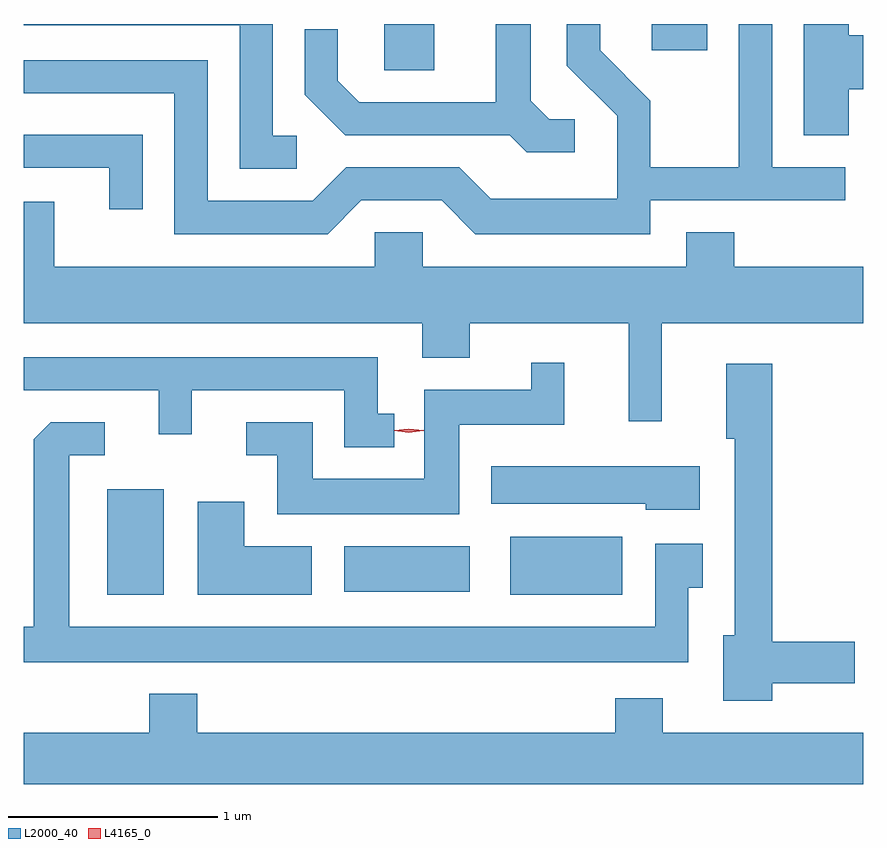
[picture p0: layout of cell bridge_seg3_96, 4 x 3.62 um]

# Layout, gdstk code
import gdstk
lib = gdstk.Library(unit=1e-6, precision=1e-09)
def R(c, l, rs):  # rectangles x0, y0, x1, y1
    for r in rs: c.add(gdstk.rectangle(r[:2], r[2:], *l))
def P(c, l, *ps):  # polygons
    for p in ps: c.add(gdstk.Polygon(p, *l))
L2000_40 = (2000, 40)
L4165_0 = (4165, 0)

bridge_seg3_96 = lib.new_cell('bridge_seg3_96')
R(bridge_seg3_96, L2000_40, [(1081.091,1251.261,1081.359,1251.764), (1083.011,1251.261,1083.544,1251.539), (1082.221,1251.276,1082.819,1251.494), (1082.411,1253.761,1082.649,1253.982), (1083.686,1253.856,1083.949,1253.982)])
P(bridge_seg3_96, L2000_40, [(1084.624,1253.671),(1084.693,1253.671),(1084.693,1253.929),(1084.624,1253.929),(1084.624,1253.982),(1084.411,1253.982),(1084.411,1253.451),(1084.624,1253.451)],
  [(1081.993,1253.449),(1081.879,1253.449),(1081.879,1253.982),(1080.693,1253.982),(1080.693,1253.976),(1081.721,1253.976),(1081.721,1253.291),(1081.993,1253.291)],
  [(1082.302,1253.141),(1082.684,1253.141),(1082.844,1252.981),(1083.679,1252.981),(1083.679,1253.141),(1084.608,1253.141),(1084.608,1253.299),(1084.259,1253.299),(1084.259,1253.982),(1084.101,1253.982),(1084.101,1253.299),(1083.679,1253.299),(1083.679,1253.617),(1083.439,1253.857),(1083.439,1253.982),(1083.281,1253.982),(1083.281,1253.784),(1083.521,1253.544),(1083.521,1253.149),(1082.917,1253.149),(1082.767,1253.299),(1082.229,1253.299),(1082.069,1253.139),(1081.569,1253.139),(1081.569,1253.809),(1080.693,1253.809),(1080.693,1253.651),(1081.411,1253.651),(1081.411,1252.981),(1082.142,1252.981)],
  [(1083.318,1253.529),(1083.197,1253.529),(1083.109,1253.617),(1083.109,1253.982),(1082.941,1253.982),(1082.941,1253.609),(1082.292,1253.609),(1082.189,1253.712),(1082.189,1253.958),(1082.031,1253.958),(1082.031,1253.644),(1082.224,1253.451),(1083.009,1253.451),(1083.089,1253.371),(1083.318,1253.371)],
  [(1081.259,1253.454),(1080.693,1253.454),(1080.693,1253.296),(1081.101,1253.296),(1081.101,1253.098),(1081.259,1253.098)],
  [(1083.734,1252.556),(1084.693,1252.556),(1084.693,1252.824),(1084.079,1252.824),(1084.079,1252.989),(1083.851,1252.989),(1083.851,1252.824),(1082.594,1252.824),(1082.594,1252.989),(1082.366,1252.989),(1082.366,1252.824),(1080.839,1252.824),(1080.839,1253.134),(1080.693,1253.134),(1080.693,1252.556),(1082.591,1252.556),(1082.591,1252.391),(1082.819,1252.391),(1082.819,1252.556),(1083.576,1252.556),(1083.576,1252.088),(1083.734,1252.088)],
  [(1082.458,1252.124),(1082.379,1252.124),(1082.379,1252.394),(1080.693,1252.394),(1080.693,1252.236),(1081.336,1252.236),(1081.336,1252.028),(1081.494,1252.028),(1081.494,1252.236),(1082.221,1252.236),(1082.221,1251.966),(1082.458,1251.966)],
  [(1082.769,1252.071),(1083.269,1252.071),(1083.269,1252.368),(1083.111,1252.368),(1083.111,1252.239),(1082.601,1252.239),(1082.601,1251.814),(1082.069,1251.814),(1082.069,1252.084),(1081.753,1252.084),(1081.753,1251.926),(1081.901,1251.926),(1081.901,1251.646),(1082.769,1251.646)],
  [(1084.259,1250.841),(1084.654,1250.841),(1084.654,1251.039),(1084.259,1251.039),(1084.259,1252.364),(1084.041,1252.364),(1084.041,1252.006),(1084.081,1252.006),(1084.081,1251.069),(1084.026,1251.069),(1084.026,1250.756),(1084.259,1250.756)],
  [(1083.859,1251.296),(1083.929,1251.296),(1083.929,1251.504),(1083.701,1251.504),(1083.701,1251.109),(1080.909,1251.109),(1080.909,1251.926),(1081.078,1251.926),(1081.078,1252.084),(1080.822,1252.084),(1080.741,1252.004),(1080.741,1251.109),(1080.693,1251.109),(1080.693,1250.941),(1083.859,1250.941)],
  [(1083.914,1251.874),(1082.921,1251.874),(1082.921,1251.696),(1083.656,1251.696),(1083.656,1251.666),(1083.914,1251.666)],
  [(1082.064,1251.494),(1081.744,1251.494),(1081.744,1251.704),(1081.521,1251.704),(1081.521,1251.261),(1082.064,1251.261)],
  [(1084.693,1250.604),(1083.739,1250.604),(1083.739,1250.769),(1083.511,1250.769),(1083.511,1250.604),(1081.519,1250.604),(1081.519,1250.789),(1081.291,1250.789),(1081.291,1250.604),(1080.693,1250.604),(1080.693,1250.36),(1084.693,1250.36)])
P(bridge_seg3_96, L4165_0, [(1082.528,1252.034),(1082.459,1252.044),(1082.459,1252.044),(1082.459,1252.045),(1082.528,1252.054),(1082.598,1252.045),(1082.598,1252.044),(1082.598,1252.044)])

lib.write_gds('bridge_seg3_96.gds')
